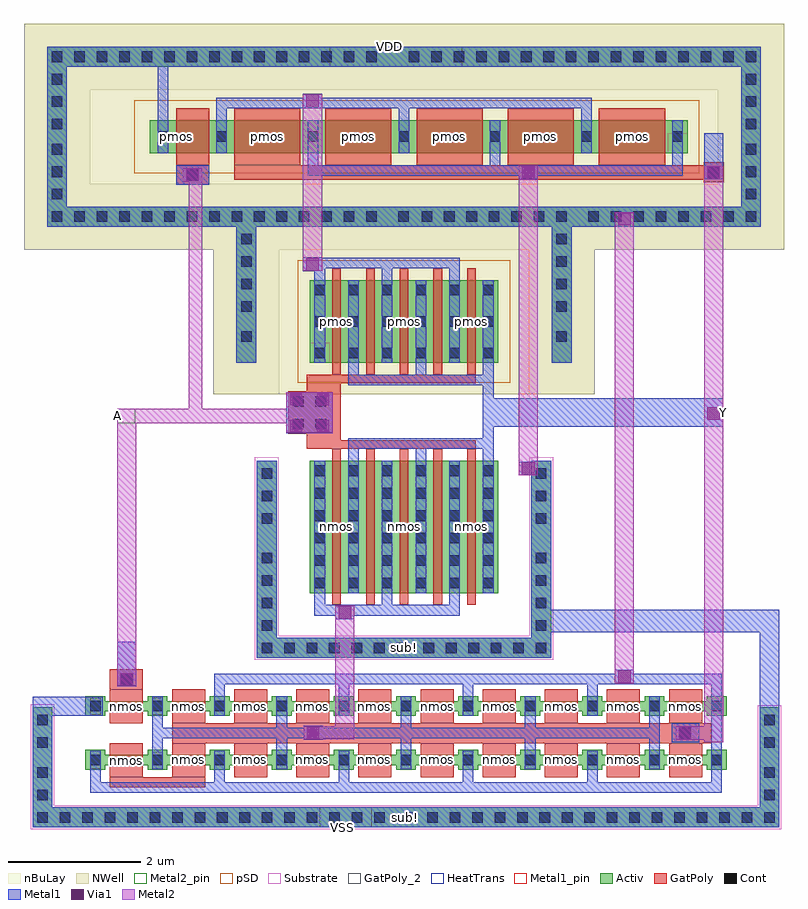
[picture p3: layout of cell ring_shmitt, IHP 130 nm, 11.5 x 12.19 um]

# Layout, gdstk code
import gdstk
lib = gdstk.Library(unit=1e-6, precision=1e-09)
def R(c, l, rs):  # rectangles x0, y0, x1, y1
    for r in rs: c.add(gdstk.rectangle(r[:2], r[2:], *l))
def A(c, l, x, y, w, h, nx, ny, dx, dy):  # array of equal rectangles
    R(c, l, [(x+i*dx, y+j*dy, x+i*dx+w, y+j*dy+h) for i in range(nx) for j in range(ny)])
def P(c, l, *ps):  # polygons
    for p in ps: c.add(gdstk.Polygon(p, *l))
Activ = (1, 0)
GatPoly = (5, 0)
GatPoly_2 = (5, 2)
Cont = (6, 0)
Metal1 = (8, 0)
Metal1_pin = (8, 2)
Metal2 = (10, 0)
Metal2_pin = (10, 2)
pSD = (14, 0)
Via1 = (19, 0)
NWell = (31, 0)
nBuLay = (32, 0)
Substrate = (40, 0)
HeatTrans = (51, 0)

ring_shmitt = lib.new_cell('ring_shmitt')
A(ring_shmitt, Activ, -4.82, -5.195, 0.3, 0.3, 11, 2, 0.94, 0.815)
A(ring_shmitt, Activ, -1.425, -2.52, 0.3, 0.3, 6, 2, 0.51, 3.485)
A(ring_shmitt, Activ, -2.91, 4.135, 0.3, 0.3, 6, 1, 1.38, 0)
R(ring_shmitt, Activ, [(-5.62,-6.065,5.68,-5.765), (-5.62,-5.765,-5.32,-4.25), (5.38,-5.765,5.68,-4.25), (-4.82,-5.125,4.88,-4.97), (-4.82,-4.31,4.88,-4.155), (-2.225,-3.5,2.225,-3.2), (-2.225,-3.2,-1.925,-0.52), (1.925,-3.2,2.225,-0.52), (-1.425,-2.52,1.425,-0.52), (-2.535,0.965,-2.235,3.025), (-1.425,0.965,1.425,2.215), (2.235,0.965,2.535,3.025), (-2.535,3.025,2.535,3.325), (-5.4,3.325,-5.1,5.445), (5.1,3.325,5.4,5.445), (-3.85,4.135,4.29,4.635), (-3.795,4.135,-3.495,4.435), (-5.4,5.445,5.4,5.745)])
P(ring_shmitt, Activ, [(-5.4,3.025),(-5.4,5.445),(-5.1,5.445),(-5.1,3.325),(5.1,3.325),(5.1,5.445),(-5.4,5.445),(-5.4,5.745),(5.4,5.745),(5.4,3.025)])
A(ring_shmitt, GatPoly, -4.45, -5.305, 0.5, 0.515, 10, 2, 0.94, 0.815)
A(ring_shmitt, GatPoly, -1.085, -2.7, 0.13, 2.36, 5, 1, 0.51, 0)
A(ring_shmitt, GatPoly, -1.085, 0.785, 0.13, 1.61, 5, 1, 0.51, 0)
A(ring_shmitt, GatPoly, -2.57, 3.955, 1, 0.86, 5, 1, 1.38, 0)
R(ring_shmitt, GatPoly, [(-4.45,-5.455,-3.01,-5.305), (-3.51,-4.79,4.65,-4.49), (4.105,-4.785,4.405,-4.485), (-4.45,-3.975,-3.95,-3.675), (-4.345,-3.975,-4.045,-3.675), (-1.47,-0.34,1.085,-0.21), (-1.47,-0.34,-0.955,0.785), (-1.75,-0.11,-1.11,0.53), (-1.47,0.655,1.085,0.785), (0.955,0.785,1.085,2.395), (-3.45,3.655,-2.95,3.955), (-3.35,3.655,-3.05,3.955), (4.535,3.695,4.835,3.995), (-2.57,3.73,4.835,3.955), (-3.45,3.955,-2.95,4.815), (-3.45,3.955,-2.95,4.815)])
R(ring_shmitt, GatPoly_2, [(-4.45,-5.305,-3.95,-4.79), (-4.45,-4.49,-3.95,-3.975), (0.955,-2.7,1.085,-0.34)])
A(ring_shmitt, Cont, -5.55, -5.995, 0.16, 0.16, 16, 1, 0.34, 0)
A(ring_shmitt, Cont, 0.01, -5.995, 0.16, 0.16, 17, 1, 0.34, 0)
A(ring_shmitt, Cont, -4.75, -5.125, 0.16, 0.16, 11, 2, 0.94, 0.815)
A(ring_shmitt, Cont, -2.155, -3.43, 0.16, 0.16, 7, 1, 0.34, 0)
A(ring_shmitt, Cont, 0.295, -3.43, 0.16, 0.16, 6, 1, 0.34, 0)
A(ring_shmitt, Cont, -2.155, -3.09, 0.16, 0.16, 1, 4, 0, 0.34)
A(ring_shmitt, Cont, 1.995, -3.09, 0.16, 0.16, 1, 4, 0, 0.34)
A(ring_shmitt, Cont, -1.355, -2.45, 0.16, 0.16, 6, 6, 0.51, 0.34)
A(ring_shmitt, Cont, -2.155, -1.47, 0.16, 0.16, 1, 3, 0, 0.34)
A(ring_shmitt, Cont, 1.995, -1.47, 0.16, 0.16, 1, 3, 0, 0.34)
A(ring_shmitt, Cont, -1.355, 1.035, 0.16, 0.16, 6, 3, 0.51, 0.475)
A(ring_shmitt, Cont, -2.465, 1.735, 0.16, 0.16, 1, 4, 0, 0.34)
A(ring_shmitt, Cont, 2.305, 1.735, 0.16, 0.16, 1, 4, 0, 0.34)
A(ring_shmitt, Cont, -5.33, 3.095, 0.16, 0.16, 15, 2, 0.34, 2.42)
A(ring_shmitt, Cont, 0.265, 3.095, 0.16, 0.16, 7, 1, 0.34, 0)
A(ring_shmitt, Cont, 2.79, 3.095, 0.16, 0.16, 8, 1, 0.34, 0)
A(ring_shmitt, Cont, -5.33, 3.435, 0.16, 0.16, 1, 3, 0, 0.34)
A(ring_shmitt, Cont, 5.17, 3.435, 0.16, 0.16, 1, 3, 0, 0.34)
A(ring_shmitt, Cont, -2.84, 4.305, 0.16, 0.16, 6, 1, 1.38, 0)
A(ring_shmitt, Cont, -5.33, 4.495, 0.16, 0.16, 1, 3, 0, 0.34)
A(ring_shmitt, Cont, 5.17, 4.495, 0.16, 0.16, 1, 3, 0, 0.34)
A(ring_shmitt, Cont, 0.07, 5.515, 0.16, 0.16, 16, 1, 0.34, 0)
R(ring_shmitt, Cont, [(-5.55,-5.655,-5.39,-5.495), (5.45,-5.655,5.61,-5.495), (-5.55,-5.315,-5.39,-5.155), (5.45,-5.315,5.61,-5.155), (-5.55,-4.86,-5.39,-4.7), (5.45,-4.86,5.61,-4.7), (4.175,-4.715,4.335,-4.555), (-5.55,-4.52,-5.39,-4.36), (5.45,-4.52,5.61,-4.36), (-4.275,-3.905,-4.115,-3.745), (-1.68,-0.04,-1.52,0.12), (-1.34,-0.04,-1.18,0.12), (-1.68,0.3,-1.52,0.46), (-1.34,0.3,-1.18,0.46), (-2.465,1.285,-2.305,1.445), (2.305,1.285,2.465,1.445), (-0.085,3.095,0.075,3.255), (-3.28,3.725,-3.12,3.885), (4.605,3.765,4.765,3.925), (-3.725,4.305,-3.565,4.465)])
A(ring_shmitt, Metal1, -4.75, -5.465, 0.16, 0.285, 6, 1, 1.88, 0)
A(ring_shmitt, Metal1, -3.81, -5.185, 0.16, 1.105, 5, 1, 1.88, 0)
A(ring_shmitt, Metal1, -4.75, -5.18, 0.16, 0.27, 5, 1, 1.88, 0)
A(ring_shmitt, Metal1, -3.81, -5.18, 0.16, 0.26, 5, 1, 1.88, 0)
A(ring_shmitt, Metal1, -0.99, -4.38, 0.16, 0.555, 3, 1, 1.88, 0)
A(ring_shmitt, Metal1, -4.75, -4.365, 0.16, 0.26, 11, 1, 0.94, 0)
A(ring_shmitt, Metal1, -1.355, -2.52, 0.16, 2, 6, 1, 0.51, 0)
A(ring_shmitt, Metal1, -1.355, 0.965, 0.16, 1.25, 5, 1, 0.51, 0)
A(ring_shmitt, Metal1, -1.46, 3.795, 0.16, 0.34, 3, 1, 2.76, 0)
A(ring_shmitt, Metal1, -2.84, 4.135, 0.16, 0.5, 6, 1, 1.38, 0)
A(ring_shmitt, Metal1, -2.84, 4.635, 0.16, 0.34, 3, 1, 2.76, 0)
R(ring_shmitt, Metal1, [(-5.62,-6.065,5.68,-5.765), (-5.62,-5.765,-5.32,-4.25), (5.38,-5.765,5.68,-4.25), (-4.75,-5.54,4.81,-5.38), (-2.87,-5.54,-2.71,-5.18), (4.65,-5.18,4.81,-4.92), (4.65,-4.96,4.81,-4.08), (4.05,-4.78,4.465,-4.49), (-1.52,-4.74,-1.23,-4.53), (4.11,-4.74,4.4,-4.53), (-3.81,-4.72,3.87,-4.56), (-5.62,-4.38,-4.555,-4.09), (-2.87,-4.38,-2.71,-3.75), (5.38,-4.25,5.68,-2.77), (4.65,-4.11,4.81,-3.825), (-4.34,-3.93,-4.05,-3.72), (-4.34,-3.925,-4.05,-3.26), (-2.87,-3.9,4.81,-3.74), (3.19,-3.89,3.48,-3.68), (-2.225,-3.5,2.225,-3.2), (-2.225,-3.2,-1.925,-0.52), (1.925,-3.2,2.225,-0.52), (1.925,-3.115,5.68,-2.77), (-1.04,-2.92,-0.75,-2.71), (-1.355,-2.86,0.845,-2.7), (-1.355,-2.86,-1.195,-2.52), (0.685,-2.86,0.845,-2.52), (-0.335,-2.7,-0.175,-2.52), (1.735,-0.74,2.025,-0.53), (-0.845,-0.52,-0.685,-0.18), (0.175,-0.52,0.335,-0.34), (1.195,-0.52,1.355,-0.18), (-0.845,-0.34,1.355,-0.18), (1.195,-0.18,1.355,0.625), (-1.78,-0.1,-1.08,0.52), (1.195,-0.005,4.83,0.425), (4.54,0.09,4.83,0.3), (-0.845,0.625,1.355,0.785), (-0.845,0.625,-0.685,0.965), (1.195,0.625,1.355,0.965), (0.175,0.785,0.335,0.965), (-2.535,0.965,-2.235,3.025), (0.685,0.965,0.845,2.215), (1.195,0.965,1.355,2.215), (1.195,0.965,1.355,2.215), (2.235,0.965,2.535,3.025), (-1.355,2.215,-1.195,2.555), (-0.335,2.215,-0.175,2.395), (0.685,2.215,0.845,2.555), (-1.53,2.35,-1.24,2.56), (-1.355,2.395,0.845,2.555), (-5.4,3.025,5.4,3.325), (-2.535,3.025,2.535,3.325), (3.19,3.035,3.48,3.245), (-5.4,3.325,-5.1,5.445), (5.1,3.325,5.4,5.445), (-3.45,3.655,-2.95,3.955), (-3.345,3.7,-3.055,3.91), (1.735,3.74,2.025,3.95), (4.54,3.74,4.83,3.95), (4.54,3.745,4.83,4.44), (-1.46,3.795,4.22,3.955), (-3.725,4.135,-3.565,4.635), (-3.725,4.135,-3.565,4.635), (-2.84,4.135,-2.68,4.635), (-3.725,4.635,-3.565,5.445), (-2.84,4.815,2.84,4.975), (-1.53,4.825,-1.24,5.035), (-5.4,5.445,5.4,5.745)])
R(ring_shmitt, Metal1_pin, [(-1.275,-6.065,-0.485,-5.765), (-4.75,-5.18,-4.59,-4.91), (-3.81,-5.18,-3.65,-4.92), (-4.75,-4.365,-4.59,-4.105), (-3.81,-4.365,-3.65,-4.105), (0.685,-2.52,0.845,-0.52), (1.195,-2.52,1.355,-0.52), (-1.125,5.445,0.88,5.745)])
R(ring_shmitt, Metal2, [(4.54,-4.78,4.83,0.405), (4.11,-4.74,4.83,-4.535), (-1.52,-4.735,-0.75,-4.535), (-1.52,-4.735,-1.23,-4.535), (-1.04,-4.735,-0.75,-2.715), (4.11,-4.735,4.4,-4.535), (-4.34,-3.925,-4.05,0.27), (-4.34,-3.925,-4.05,-3.725), (3.19,-3.885,3.48,3.24), (3.19,-3.885,3.48,-3.685), (-1.04,-2.915,-0.75,-2.715), (1.735,-0.735,2.025,3.945), (1.735,-0.735,2.025,-0.535), (-1.78,-0.095,-1.08,0.515), (4.54,-0.005,4.83,3.945), (-4.34,0.05,-1.555,0.27), (-3.26,0.05,-3.055,3.905), (4.54,0.095,4.83,0.295), (-1.53,2.355,-1.24,5.03), (-1.53,2.355,-1.24,2.555), (3.19,3.04,3.48,3.24), (-3.345,3.705,-3.055,3.905), (1.735,3.745,2.025,3.945), (4.54,3.745,4.83,3.945), (-1.53,4.83,-1.24,5.03)])
R(ring_shmitt, Metal2_pin, [(4.54,-0.005,4.83,0.425), (-4.34,0.05,-4.065,0.27)])
R(ring_shmitt, pSD, [(-5.65,-6.095,5.71,-5.735), (-5.65,-5.735,-5.29,-4.205), (5.35,-5.735,5.71,-4.215), (-1.605,0.665,1.605,2.515), (-4.08,3.835,4.47,4.935)])
P(ring_shmitt, pSD, [(-2.255,-3.53),(-2.255,-0.465),(-1.895,-0.465),(-1.895,-3.17),(1.895,-3.17),(1.895,-0.465),(2.255,-0.465),(2.255,-3.53)])
R(ring_shmitt, Via1, [(-1.47,-4.73,-1.28,-4.54), (4.16,-4.73,4.35,-4.54), (-4.29,-3.92,-4.1,-3.73), (3.24,-3.88,3.43,-3.69), (-0.99,-2.91,-0.8,-2.72), (1.785,-0.73,1.975,-0.54), (-1.73,-0.09,-1.54,0.1), (-1.32,-0.09,-1.13,0.1), (4.59,0.1,4.78,0.29), (-1.73,0.32,-1.54,0.51), (-1.32,0.32,-1.13,0.51), (-1.48,2.36,-1.29,2.55), (3.24,3.045,3.43,3.235), (-3.295,3.71,-3.105,3.9), (1.785,3.75,1.975,3.94), (4.59,3.75,4.78,3.94), (-1.48,4.835,-1.29,5.025)])
R(ring_shmitt, NWell, [(-2.885,0.49,2.885,3.675), (-1.735,0.655,1.735,2.525), (-5.75,2.675,5.75,6.095), (-4.6,3.825,4.6,4.945)])
R(ring_shmitt, nBuLay, [(-2.885,0.49,-1.885,2.675), (1.885,0.49,2.885,2.675), (-2.885,2.675,2.885,3.675), (-5.75,3.675,-4.75,5.095), (4.75,3.675,5.75,5.095), (-5.75,5.095,5.75,6.095)])
P(ring_shmitt, nBuLay, [(-5.75,2.675),(-5.75,5.095),(-4.75,5.095),(-4.75,3.675),(4.75,3.675),(4.75,5.095),(-5.75,5.095),(-5.75,6.095),(5.75,6.095),(5.75,2.675)])
R(ring_shmitt, Substrate, [(-5.65,-6.095,5.71,-5.735), (-5.65,-5.735,-5.29,-4.205), (5.35,-5.735,5.71,-4.215), (-1.425,0.965,-1.125,1.265), (3.99,4.135,4.29,4.435)])
P(ring_shmitt, Substrate, [(-2.255,-3.53),(-2.255,-0.465),(-1.895,-0.465),(-1.895,-3.17),(1.895,-3.17),(1.895,-0.465),(2.255,-0.465),(2.255,-3.53)])
A(ring_shmitt, HeatTrans, -4.45, -5.305, 0.5, 0.515, 10, 2, 0.94, 0.815)
A(ring_shmitt, HeatTrans, -1.085, -2.7, 0.13, 2.36, 5, 1, 0.51, 0)
A(ring_shmitt, HeatTrans, -1.085, 0.785, 0.13, 1.61, 5, 1, 0.51, 0)
A(ring_shmitt, HeatTrans, -2.57, 3.955, 1, 0.86, 5, 1, 1.38, 0)
R(ring_shmitt, HeatTrans, [(-3.45,3.955,-2.95,4.815)])
ring_shmitt.add(gdstk.Label('nmos', (-4.2,-4.232), layer=63, texttype=0))
ring_shmitt.add(gdstk.Label('nmos', (-4.2,-5.05), layer=63, texttype=0))
ring_shmitt.add(gdstk.Label('sub!', (0.03,-5.915), layer=63, texttype=0))
ring_shmitt.add(gdstk.Label('nmos', (1.02,-1.52), layer=63, texttype=0))
ring_shmitt.add(gdstk.Label('sub!', (0,-3.35), layer=63, texttype=0))
ring_shmitt.add(gdstk.Label('pmos', (1.02,1.59), layer=63, texttype=0))
ring_shmitt.add(gdstk.Label('VSS', (-0.93,-6.065), layer=8, texttype=2))
ring_shmitt.add(gdstk.Label('VDD', (-0.225,5.745), layer=8, texttype=2))
ring_shmitt.add(gdstk.Label('nmos', (-4.2,-4.232), layer=51, texttype=0))
ring_shmitt.add(gdstk.Label('nmos', (-3.26,-4.232), layer=51, texttype=0))
ring_shmitt.add(gdstk.Label('nmos', (-2.32,-4.232), layer=51, texttype=0))
ring_shmitt.add(gdstk.Label('nmos', (-1.38,-4.232), layer=51, texttype=0))
ring_shmitt.add(gdstk.Label('nmos', (-0.44,-4.232), layer=51, texttype=0))
ring_shmitt.add(gdstk.Label('nmos', (0.5,-4.232), layer=51, texttype=0))
ring_shmitt.add(gdstk.Label('nmos', (1.44,-4.232), layer=51, texttype=0))
ring_shmitt.add(gdstk.Label('nmos', (2.38,-4.232), layer=51, texttype=0))
ring_shmitt.add(gdstk.Label('nmos', (3.32,-4.232), layer=51, texttype=0))
ring_shmitt.add(gdstk.Label('nmos', (4.26,-4.232), layer=51, texttype=0))
ring_shmitt.add(gdstk.Label('nmos', (-4.2,-5.045), layer=51, texttype=0))
ring_shmitt.add(gdstk.Label('nmos', (-3.26,-5.045), layer=51, texttype=0))
ring_shmitt.add(gdstk.Label('nmos', (-2.32,-5.045), layer=51, texttype=0))
ring_shmitt.add(gdstk.Label('nmos', (-1.38,-5.045), layer=51, texttype=0))
ring_shmitt.add(gdstk.Label('nmos', (-0.44,-5.045), layer=51, texttype=0))
ring_shmitt.add(gdstk.Label('nmos', (0.5,-5.045), layer=51, texttype=0))
ring_shmitt.add(gdstk.Label('nmos', (1.44,-5.045), layer=51, texttype=0))
ring_shmitt.add(gdstk.Label('nmos', (2.38,-5.045), layer=51, texttype=0))
ring_shmitt.add(gdstk.Label('nmos', (3.32,-5.045), layer=51, texttype=0))
ring_shmitt.add(gdstk.Label('nmos', (4.26,-5.045), layer=51, texttype=0))
ring_shmitt.add(gdstk.Label('pmos', (3.45,4.385), layer=51, texttype=0))
ring_shmitt.add(gdstk.Label('pmos', (2.07,4.385), layer=51, texttype=0))
ring_shmitt.add(gdstk.Label('pmos', (0.69,4.385), layer=51, texttype=0))
ring_shmitt.add(gdstk.Label('pmos', (-0.69,4.385), layer=51, texttype=0))
ring_shmitt.add(gdstk.Label('pmos', (-2.07,4.385), layer=51, texttype=0))
ring_shmitt.add(gdstk.Label('pmos', (-3.45,4.385), layer=51, texttype=0))
ring_shmitt.add(gdstk.Label('nmos', (1.02,-1.52), layer=51, texttype=0))
ring_shmitt.add(gdstk.Label('nmos', (0.51,-1.52), layer=51, texttype=0))
ring_shmitt.add(gdstk.Label('nmos', (0,-1.52), layer=51, texttype=0))
ring_shmitt.add(gdstk.Label('nmos', (-0.51,-1.52), layer=51, texttype=0))
ring_shmitt.add(gdstk.Label('nmos', (-1.02,-1.52), layer=51, texttype=0))
ring_shmitt.add(gdstk.Label('pmos', (-1.02,1.59), layer=51, texttype=0))
ring_shmitt.add(gdstk.Label('pmos', (-0.51,1.59), layer=51, texttype=0))
ring_shmitt.add(gdstk.Label('pmos', (0,1.59), layer=51, texttype=0))
ring_shmitt.add(gdstk.Label('pmos', (0.51,1.59), layer=51, texttype=0))
ring_shmitt.add(gdstk.Label('pmos', (1.02,1.59), layer=51, texttype=0))
ring_shmitt.add(gdstk.Label('Y', (4.83,0.21), layer=10, texttype=2))
ring_shmitt.add(gdstk.Label('A', (-4.34,0.16), layer=10, texttype=2))

lib.write_gds('ring_shmitt.gds')
